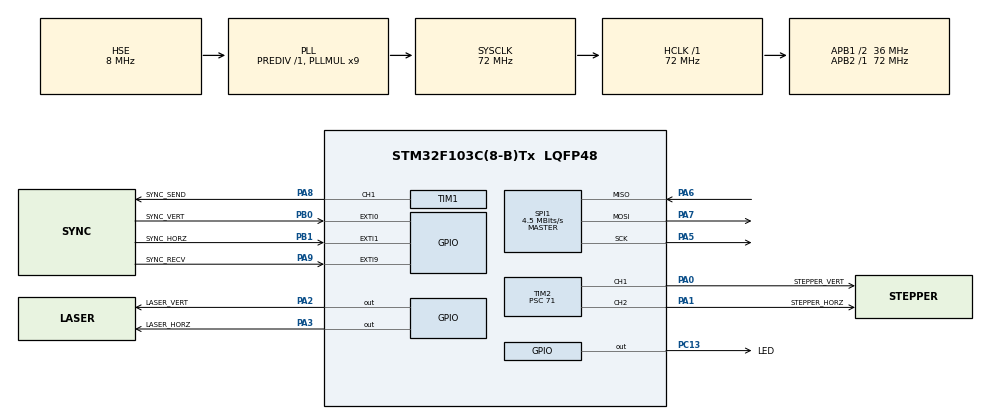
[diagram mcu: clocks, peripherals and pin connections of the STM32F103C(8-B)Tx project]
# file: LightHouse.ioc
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Mcu.Family=STM32F1
Mcu.Name=STM32F103C(8-B)Tx
Mcu.Package=LQFP48
NVIC.EXTI0_IRQn=true\:0\:0\:false\:false\:true
NVIC.EXTI1_IRQn=true\:0\:0\:false\:false\:true
NVIC.EXTI9_5_IRQn=true\:0\:0\:false\:false\:true
NVIC.PriorityGroup=NVIC_PRIORITYGROUP_4
PA0-WKUP.GPIO_Label=STEPPER_VERT
PA0-WKUP.GPIO_Speed=GPIO_SPEED_FREQ_MEDIUM
PA0-WKUP.Signal=S_TIM2_CH1_ETR
PA1.GPIO_Label=STEPPER_HORZ
PA1.GPIO_Speed=GPIO_SPEED_FREQ_MEDIUM
PA1.Signal=S_TIM2_CH2
PA2.GPIO_Label=LASER_VERT
PA2.GPIO_Speed=GPIO_SPEED_FREQ_HIGH
PA2.Signal=GPIO_Output
PA3.GPIO_Label=LASER_HORZ
PA3.GPIO_Speed=GPIO_SPEED_FREQ_HIGH
PA3.Signal=GPIO_Output
PA5.Mode=Full_Duplex_Master
PA5.Signal=SPI1_SCK
PA6.Mode=Full_Duplex_Master
PA6.Signal=SPI1_MISO
PA7.Mode=Full_Duplex_Master
PA7.Signal=SPI1_MOSI
PA8.GPIO_Label=SYNC_SEND
PA8.GPIO_ModeDefaultPP=GPIO_MODE_AF_PP
PA8.GPIO_Speed=GPIO_SPEED_FREQ_HIGH
PA8.Signal=S_TIM1_CH1
PA9.GPIO_Label=SYNC_RECV
PA9.GPIO_ModeDefaultEXTI=GPIO_MODE_IT_RISING_FALLING
PA9.GPIO_PuPd=GPIO_NOPULL
PA9.Signal=GPXTI9
PB0.GPIO_Label=SYNC_VERT
PB0.GPIO_PuPd=GPIO_PULLDOWN
PB0.Signal=GPXTI0
PB1.GPIO_Label=SYNC_HORZ
PB1.GPIO_PuPd=GPIO_PULLDOWN
PB1.Signal=GPXTI1
PC13-TAMPER-RTC.GPIO_Label=LED
PC13-TAMPER-RTC.GPIO_ModeDefaultOutputPP=GPIO_MODE_OUTPUT_OD
PC13-TAMPER-RTC.GPIO_Speed=GPIO_SPEED_FREQ_HIGH
PC13-TAMPER-RTC.PinState=GPIO_PIN_SET
PC13-TAMPER-RTC.Signal=GPIO_Output
PD0-OSC_IN.Mode=HSE-External-Oscillator
PD0-OSC_IN.Signal=RCC_OSC_IN
PD1-OSC_OUT.Mode=HSE-External-Oscillator
PD1-OSC_OUT.Signal=RCC_OSC_OUT
ProjectManager.HeapSize=0x200
ProjectManager.StackSize=0x400
ProjectManager.TargetToolchain=MDK-ARM V5
RCC.ADCPresc=RCC_ADCPCLK2_DIV6
RCC.AHBFreq_Value=72000000
RCC.APB1CLKDivider=RCC_HCLK_DIV2
RCC.APB1Freq_Value=36000000
RCC.APB1TimFreq_Value=72000000
RCC.APB2Freq_Value=72000000
RCC.APB2TimFreq_Value=72000000
RCC.ClockTypeHCLK=RCC_CLOCKTYPE_HCLK
RCC.ClockTypePCLK1=RCC_CLOCKTYPE_PCLK1
RCC.ClockTypePCLK2=RCC_CLOCKTYPE_PCLK2
RCC.EnableHSE=true
RCC.EnableHSERTCDevisor=false
RCC.EnableLSE=false
RCC.EnableLSERTC=false
RCC.EnableMCOMultDivisor=false
RCC.HCLKFreq_Value=72000000
RCC.HSEState=RCC_HSE_ON
RCC.HSIState=RCC_HSI_ON
RCC.IWDGEnable=false
RCC.LSIState=RCC_LSI_OFF
RCC.MCOEnable=false
RCC.OscillatorTypeHSE=RCC_OSCILLATORTYPE_HSE
RCC.PLLMUL=RCC_PLL_MUL9
RCC.PLLSource=RCC_PLLSOURCE_HSE
RCC.PLLSourceVirtual=RCC_PLLSOURCE_HSE
RCC.PLLState=RCC_PLL_ON
RCC.PREFETCH_ENABLE=1
RCC.RTCEnable=false
RCC.SYSCLKFreq_VALUE=72000000
RCC.SYSCLKSource=RCC_SYSCLKSOURCE_PLLCLK
RCC.USBFreq_Value=48000000
RCC.USBPrescaler=RCC_USBCLKSOURCE_PLL_DIV1_5
RCC.VDD_VALUE=3.3
SH.S_TIM1_CH1.0=TIM1_CH1,PWM Generation1 CH1
SH.S_TIM2_CH1_ETR.0=TIM2_CH1,PWM Generation1 CH1
SH.S_TIM2_CH2.0=TIM2_CH2,PWM Generation2 CH2
SPI1.BaudRatePrescaler=SPI_BAUDRATEPRESCALER_16
SPI1.CRCPolynomial=10
SPI1.CalculateBaudRate=4.5 MBits/s
SPI1.Direction=SPI_DIRECTION_2LINES
SPI1.Mode=SPI_MODE_MASTER
SPI1.VirtualType=VM_MASTER
TIM1.Channel-PWM\ Generation1\ CH1=TIM_CHANNEL_1
TIM1.ClockDivision=TIM_CLOCKDIVISION_DIV1
TIM1.OCFastMode_PWM-PWM\ Generation1\ CH1=TIM_OCFAST_DISABLE
TIM1.OCMode_PWM-PWM\ Generation1\ CH1=TIM_OCMODE_PWM1
TIM1.OCNIdleState_1=TIM_OCNIDLESTATE_RESET
TIM1.OCNPolarity_1=TIM_OCNPOLARITY_HIGH
TIM1.Period=75
TIM1.Prescaler=24
TIM1.Pulse-PWM\ Generation1\ CH1=38
TIM1.TIM_MasterOutputTrigger=TIM_TRGO_RESET
TIM2.Channel-PWM\ Generation1\ CH1=TIM_CHANNEL_1
TIM2.Channel-PWM\ Generation2\ CH2=TIM_CHANNEL_2
TIM2.OCFastMode_PWM-PWM\ Generation1\ CH1=TIM_OCFAST_DISABLE
TIM2.OCFastMode_PWM-PWM\ Generation2\ CH2=TIM_OCFAST_DISABLE
TIM2.Period=3190
TIM2.Prescaler=71
TIM2.Pulse-PWM\ Generation1\ CH1=1600
TIM2.Pulse-PWM\ Generation2\ CH2=1600
TIM2.TIM_MasterOutputTrigger=TIM_TRGO_RESET
VP_SYS_VS_ND.Mode=No_Debug
VP_TIM1_VS_ClockSourceINT.Mode=Internal
VP_TIM2_VS_ClockSourceINT.Mode=Internal
board=LightHouse

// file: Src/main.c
/**
  ******************************************************************************
  * File Name          : main.c
  * Description        : Main program body
  ******************************************************************************
  *
  * COPYRIGHT(c) 2017 STMicroelectronics
  *
  * Redistribution and use in source and binary forms, with or without modification,
  * are permitted provided that the following conditions are met:
  *   1. Redistributions of source code must retain the above copyright notice,
  *      this list of conditions and the following disclaimer.
  *   2. Redistributions in binary form must reproduce the above copyright notice,
  *      this list of conditions and the following disclaimer in the documentation
  *      and/or other materials provided with the distribution.
  *   3. Neither the name of STMicroelectronics nor the names of its contributors
  *      may be used to endorse or promote products derived from this software
  *      without specific prior written permission.
  *
  * THIS SOFTWARE IS PROVIDED BY THE COPYRIGHT HOLDERS AND CONTRIBUTORS "AS IS"
  * AND ANY EXPRESS OR IMPLIED WARRANTIES, INCLUDING, BUT NOT LIMITED TO, THE
  * IMPLIED WARRANTIES OF MERCHANTABILITY AND FITNESS FOR A PARTICULAR PURPOSE ARE
  * DISCLAIMED. IN NO EVENT SHALL THE COPYRIGHT HOLDER OR CONTRIBUTORS BE LIABLE
  * FOR ANY DIRECT, INDIRECT, INCIDENTAL, SPECIAL, EXEMPLARY, OR CONSEQUENTIAL
  * DAMAGES (INCLUDING, BUT NOT LIMITED TO, PROCUREMENT OF SUBSTITUTE GOODS OR
  * SERVICES; LOSS OF USE, DATA, OR PROFITS; OR BUSINESS INTERRUPTION) HOWEVER
  * CAUSED AND ON ANY THEORY OF LIABILITY, WHETHER IN CONTRACT, STRICT LIABILITY,
  * OR TORT (INCLUDING NEGLIGENCE OR OTHERWISE) ARISING IN ANY WAY OUT OF THE USE
  * OF THIS SOFTWARE, EVEN IF ADVISED OF THE POSSIBILITY OF SUCH DAMAGE.
  *
  ******************************************************************************
  */
#include "main.h"
#include "stm32f1xx_hal.h"

/* USER CODE BEGIN Includes */
#undef UNUSED
#define UNUSED(x) ;

#include "..\\..\\Common\\led.h"
#include "..\\..\\Common\\eeprom_flash.h"
/* USER CODE END Includes */

SPI_HandleTypeDef hspi1;

TIM_HandleTypeDef htim1;
TIM_HandleTypeDef htim2;

/* USER CODE BEGIN PV */
#ifdef __cplusplus
extern "C" {
#endif
/* USER CODE END PV */

void SystemClock_Config(void);
void Error_Handler(void);
static void MX_GPIO_Init(void);
static void MX_SPI1_Init(void);
static void MX_TIM1_Init(void);
static void MX_TIM2_Init(void);

void HAL_TIM_MspPostInit(TIM_HandleTypeDef *htim);

/* USER CODE BEGIN PFP */
/* Private function prototypes -----------------------------------------------*/
#ifdef __cplusplus
}
#endif

/* USER CODE END PFP */

/* USER CODE BEGIN 0 */

uint64_t HAL_GetMicros()
{
	uint64_t ticks = HAL_GetTick();
	uint64_t systick = (uint64_t)SysTick->VAL;
	return (ticks * 1000ull) + 1000ull - (systick / 72ul);
}

void HAL_MicroDelay(uint64_t delay)
{
	uint64_t tickstart = 0;
	tickstart = HAL_GetMicros();
	while((HAL_GetMicros() - tickstart) < delay)
	{
	}
}

volatile int step = 0;
#define SYNC_MARK (0xD3)
#define VERT (0x21)
#define HORZ (0x41)
#define REVERSE (0x08)
#define PULSE_WIDTH (600)

volatile bool selfSync = false;

uint16_t SyncData = 0;
uint8_t SyncBits = 0;
uint64_t LastSyncBitTime = 0;
uint8_t LastSyncBit = 0;
uint32_t SyncElapsedTime = 0;
uint8_t SyncElapsedPulses = 0;
uint8_t SyncCurrBit = 0;
volatile uint8_t SyncCommand = 0;

uint32_t NextTurn = 0;

uint16_t SyncDebug[16] = {0};
uint8_t SyncDebugIdx = 0;

void HAL_GPIO_EXTI_Callback(uint16_t GPIO_Pin)
{
	if (selfSync) return; //prevent self sync signal process
	if (GPIO_Pin == SYNC_RECV_Pin)
	{
		uint64_t now = HAL_GetMicros();
		//interrupt on up and down edges
		SyncCurrBit = (HAL_GPIO_ReadPin(SYNC_RECV_GPIO_Port, SYNC_RECV_Pin) == GPIO_PIN_RESET)? 1 : 0;
		if (SyncCurrBit)
		{
			SyncElapsedTime = (uint32_t)(now - LastSyncBitTime);
			SyncElapsedPulses = (uint8_t)(((float)SyncElapsedTime / (float)PULSE_WIDTH) + 0.5f) ;
			if (SyncElapsedPulses == 1)
			{
				SyncData = (SyncData << 1);	// 0
				SyncBits++;
			}
			else if (SyncElapsedPulses == 3)
			{
				SyncData = (SyncData << 1) | 1;	// 1
				SyncBits++;
			}
			else
			{
				SyncBits = 0;
				SyncData = 0;
				SyncCommand = 0;
				//LedOff();
			}

			if (SyncBits == 16)
			{
				if (((SyncData >> 8) & SYNC_MARK) == SYNC_MARK)
				{
					SyncCommand = (uint8_t)(SyncData & 0xff);
					SyncDebug[SyncDebugIdx] = SyncData;
					SyncDebugIdx++;
					if (SyncDebugIdx == 16) SyncDebugIdx = 0;
				}
				else
				{
					SyncCommand = 0;
				}
				SyncBits = 0;
				SyncData = 0;
				//LedOn();
			}
		}
		LastSyncBitTime = now;
	}
}

uint32_t delay = 0;
int pwm = 0;

void SendIREndMark()
{
	TIM1->CCR1 = 38; //set %50 duty
	HAL_MicroDelay(PULSE_WIDTH);
	TIM1->CCR1 = 0; //set %0 duty
	HAL_MicroDelay(PULSE_WIDTH);
	selfSync = false;
}

uint32_t SendIRByte(uint8_t data)
{
	uint32_t pulses = 0;
	selfSync = true;
	for (int i=0; i<8; i++)
	{
		if ((data & 0x80) == 0x80)
		{
			TIM1->CCR1 = 38; //set %50 duty
			HAL_MicroDelay(PULSE_WIDTH);
			TIM1->CCR1 = 0; //set %0 duty
			HAL_MicroDelay(PULSE_WIDTH*3);
			pulses += 4;
		}
		else
		{
			TIM1->CCR1 = 38; //set %50 duty
			HAL_MicroDelay(PULSE_WIDTH);
			TIM1->CCR1 = 0; //set %0 duty
			HAL_MicroDelay(PULSE_WIDTH);
			pulses += 2;
		}
		data = data << 1;
	}
	return (32 - pulses) * PULSE_WIDTH;
}

void SetLedDuty(float x)
{

	if (x < 0) x = 0.0f;
	if (x > 100) x = 100.0f;
	TIM3->CCR4 = (uint32_t)(((float)(TIM3->ARR) / 100.0f) * x);

}
#define SERVO_90 (130)
/* USER CODE END 0 */

int main(void)
{

  /* USER CODE BEGIN 1 */
	//Determine the desired PWM resolution (for example: 100 steps, 200 steps, 1000…)
	//Determine the desired PWM frequency (for example: 1kHz, 10kHz, 40kHz, …)
	//Set the Counter Period at the same value as the resolution
	//Set the Prescaler = 48000000/(PWM frequency*PWM resolution) – 1 (thanks to Ruben and Avinash to spot out the mistake)
	//Set the Pulse equal to the desired Pulse width where the value varies from 0 to Counter Period.

  /* USER CODE END 1 */

  /* MCU Configuration----------------------------------------------------------*/

  /* Reset of all peripherals, Initializes the Flash interface and the Systick. */
  HAL_Init();

  /* Configure the system clock */
  SystemClock_Config();

  /* Initialize all configured peripherals */
  MX_GPIO_Init();
  MX_SPI1_Init();
  MX_TIM1_Init();
  MX_TIM2_Init();

  /* USER CODE BEGIN 2 */
	HAL_TIM_PWM_Start(&htim1, TIM_CHANNEL_1);
	HAL_TIM_PWM_Start(&htim2, TIM_CHANNEL_1);
	HAL_TIM_PWM_Start(&htim2, TIM_CHANNEL_2);

  /* USER CODE END 2 */

  /* Infinite loop */
  /* USER CODE BEGIN WHILE */

	uint32_t extraDelay;
	uint8_t direction = 0;
	uint32_t angle = 2000;

	uint8_t lightHouseId = 0; // (GPIO_PIN_SET == HAL_GPIO_ReadPin(LH_ID_GPIO_Port, LH_ID_Pin) ? 0x10 : 0x00);
	//uint32_t lastCommandTime = HAL_GetTick();

	if (!lightHouseId) SyncCommand = HORZ;
	TIM1->CCR1 = 38; //set %0 duty

	uint32_t v = 5000; //50000 = 1hz
	TIM2->ARR = v - 1;
	TIM2->CCR1 = v / 2; //set %0 duty
	TIM2->CCR2 = v / 2; //set %0 duty

	while (true)
	{
		continue;
		uint32_t now = HAL_GetTick();
		if (now > NextTurn) SyncCommand = HORZ;
		if (SyncCommand == 0) continue;
		if ((SyncCommand & HORZ) == HORZ)
		{
			//lastCommandTime = now;
			if (angle == 20)
				angle = 10;
			else
				angle = 20;
			direction = (angle == 10)? 0: REVERSE;

			angle = 50;

			HAL_Delay(SERVO_90); // wait until remote finish
			LedOn();

			extraDelay = SendIRByte(SYNC_MARK); //send sync magic
			extraDelay += SendIRByte(VERT | lightHouseId | direction);	//send sync info
			HAL_GPIO_WritePin(LASER_VERT_GPIO_Port, LASER_VERT_Pin, GPIO_PIN_SET); //turn on vert laser
			SendIREndMark();
			//21 ms total  = 34 * 600 = 21400microsec
			if (extraDelay) HAL_MicroDelay(extraDelay);
			TIM2->CCR1 = angle; //move vert to 0
			HAL_Delay(SERVO_90); // wait until finish
			HAL_GPIO_WritePin(LASER_VERT_GPIO_Port, LASER_VERT_Pin, GPIO_PIN_RESET); //turn off vert laser

			extraDelay = SendIRByte(SYNC_MARK); //send sync magic
			extraDelay += SendIRByte(HORZ | lightHouseId | direction);	//send sync info
			HAL_GPIO_WritePin(LASER_HORZ_GPIO_Port, LASER_HORZ_Pin, GPIO_PIN_SET); //turn on horz laser
			SendIREndMark();
			if (extraDelay) HAL_MicroDelay(extraDelay);
			TIM2->CCR2 = angle;
			HAL_Delay(SERVO_90); //wait fin
			HAL_GPIO_WritePin(LASER_HORZ_GPIO_Port, LASER_HORZ_Pin, GPIO_PIN_RESET); //turn off horz laser

			LedOff();
			NextTurn = HAL_GetTick(); // +((SERVO_90 + 21) * 2) + 10;
		}
		SyncCommand = 0;

	}
  /* USER CODE END WHILE */

}

/** System Clock Configuration
*/
void SystemClock_Config(void)
{

  RCC_OscInitTypeDef RCC_OscInitStruct;
  RCC_ClkInitTypeDef RCC_ClkInitStruct;

    /**Initializes the CPU, AHB and APB busses clocks
    */
  RCC_OscInitStruct.OscillatorType = RCC_OSCILLATORTYPE_HSE;
  RCC_OscInitStruct.HSEState = RCC_HSE_ON;
  RCC_OscInitStruct.HSEPredivValue = RCC_HSE_PREDIV_DIV1;
  RCC_OscInitStruct.PLL.PLLState = RCC_PLL_ON;
  RCC_OscInitStruct.PLL.PLLSource = RCC_PLLSOURCE_HSE;
  RCC_OscInitStruct.PLL.PLLMUL = RCC_PLL_MUL9;
  if (HAL_RCC_OscConfig(&RCC_OscInitStruct) != HAL_OK)
  {
    Error_Handler();
  }

    /**Initializes the CPU, AHB and APB busses clocks
    */
  RCC_ClkInitStruct.ClockType = RCC_CLOCKTYPE_HCLK|RCC_CLOCKTYPE_SYSCLK
                              |RCC_CLOCKTYPE_PCLK1|RCC_CLOCKTYPE_PCLK2;
  RCC_ClkInitStruct.SYSCLKSource = RCC_SYSCLKSOURCE_PLLCLK;
  RCC_ClkInitStruct.AHBCLKDivider = RCC_SYSCLK_DIV1;
  RCC_ClkInitStruct.APB1CLKDivider = RCC_HCLK_DIV2;
  RCC_ClkInitStruct.APB2CLKDivider = RCC_HCLK_DIV1;

  if (HAL_RCC_ClockConfig(&RCC_ClkInitStruct, FLASH_LATENCY_2) != HAL_OK)
  {
    Error_Handler();
  }

    /**Configure the Systick interrupt time
    */
  HAL_SYSTICK_Config(HAL_RCC_GetHCLKFreq()/1000);

    /**Configure the Systick
    */
  HAL_SYSTICK_CLKSourceConfig(SYSTICK_CLKSOURCE_HCLK);

  /* SysTick_IRQn interrupt configuration */
  HAL_NVIC_SetPriority(SysTick_IRQn, 0, 0);
}

/* SPI1 init function */
static void MX_SPI1_Init(void)
{

  hspi1.Instance = SPI1;
  hspi1.Init.Mode = SPI_MODE_MASTER;
  hspi1.Init.Direction = SPI_DIRECTION_2LINES;
  hspi1.Init.DataSize = SPI_DATASIZE_8BIT;
  hspi1.Init.CLKPolarity = SPI_POLARITY_LOW;
  hspi1.Init.CLKPhase = SPI_PHASE_1EDGE;
  hspi1.Init.NSS = SPI_NSS_SOFT;
  hspi1.Init.BaudRatePrescaler = SPI_BAUDRATEPRESCALER_16;
  hspi1.Init.FirstBit = SPI_FIRSTBIT_MSB;
  hspi1.Init.TIMode = SPI_TIMODE_DISABLE;
  hspi1.Init.CRCCalculation = SPI_CRCCALCULATION_DISABLE;
  hspi1.Init.CRCPolynomial = 10;
  if (HAL_SPI_Init(&hspi1) != HAL_OK)
  {
    Error_Handler();
  }

}

/* TIM1 init function */
static void MX_TIM1_Init(void)
{

  TIM_ClockConfigTypeDef sClockSourceConfig;
  TIM_MasterConfigTypeDef sMasterConfig;
  TIM_OC_InitTypeDef sConfigOC;
  TIM_BreakDeadTimeConfigTypeDef sBreakDeadTimeConfig;

  htim1.Instance = TIM1;
  htim1.Init.Prescaler = 24;
  htim1.Init.CounterMode = TIM_COUNTERMODE_UP;
  htim1.Init.Period = 75;
  htim1.Init.ClockDivision = TIM_CLOCKDIVISION_DIV1;
  htim1.Init.RepetitionCounter = 0;
  if (HAL_TIM_Base_Init(&htim1) != HAL_OK)
  {
    Error_Handler();
  }

  sClockSourceConfig.ClockSource = TIM_CLOCKSOURCE_INTERNAL;
  if (HAL_TIM_ConfigClockSource(&htim1, &sClockSourceConfig) != HAL_OK)
  {
    Error_Handler();
  }

  if (HAL_TIM_PWM_Init(&htim1) != HAL_OK)
  {
    Error_Handler();
  }

  sMasterConfig.MasterOutputTrigger = TIM_TRGO_RESET;
  sMasterConfig.MasterSlaveMode = TIM_MASTERSLAVEMODE_DISABLE;
  if (HAL_TIMEx_MasterConfigSynchronization(&htim1, &sMasterConfig) != HAL_OK)
  {
    Error_Handler();
  }

  sConfigOC.OCMode = TIM_OCMODE_PWM1;
  sConfigOC.Pulse = 38;
  sConfigOC.OCPolarity = TIM_OCPOLARITY_HIGH;
  sConfigOC.OCNPolarity = TIM_OCNPOLARITY_HIGH;
  sConfigOC.OCFastMode = TIM_OCFAST_DISABLE;
  sConfigOC.OCIdleState = TIM_OCIDLESTATE_RESET;
  sConfigOC.OCNIdleState = TIM_OCNIDLESTATE_RESET;
  if (HAL_TIM_PWM_ConfigChannel(&htim1, &sConfigOC, TIM_CHANNEL_1) != HAL_OK)
  {
    Error_Handler();
  }

  sBreakDeadTimeConfig.OffStateRunMode = TIM_OSSR_DISABLE;
  sBreakDeadTimeConfig.OffStateIDLEMode = TIM_OSSI_DISABLE;
  sBreakDeadTimeConfig.LockLevel = TIM_LOCKLEVEL_OFF;
  sBreakDeadTimeConfig.DeadTime = 0;
  sBreakDeadTimeConfig.BreakState = TIM_BREAK_DISABLE;
  sBreakDeadTimeConfig.BreakPolarity = TIM_BREAKPOLARITY_HIGH;
  sBreakDeadTimeConfig.AutomaticOutput = TIM_AUTOMATICOUTPUT_DISABLE;
  if (HAL_TIMEx_ConfigBreakDeadTime(&htim1, &sBreakDeadTimeConfig) != HAL_OK)
  {
    Error_Handler();
  }

  HAL_TIM_MspPostInit(&htim1);

}

/* TIM2 init function */
static void MX_TIM2_Init(void)
{

  TIM_ClockConfigTypeDef sClockSourceConfig;
  TIM_MasterConfigTypeDef sMasterConfig;
  TIM_OC_InitTypeDef sConfigOC;

  htim2.Instance = TIM2;
  htim2.Init.Prescaler = 71;
  htim2.Init.CounterMode = TIM_COUNTERMODE_UP;
  htim2.Init.Period = 3190;
  htim2.Init.ClockDivision = TIM_CLOCKDIVISION_DIV1;
  if (HAL_TIM_Base_Init(&htim2) != HAL_OK)
  {
    Error_Handler();
  }

  sClockSourceConfig.ClockSource = TIM_CLOCKSOURCE_INTERNAL;
  if (HAL_TIM_ConfigClockSource(&htim2, &sClockSourceConfig) != HAL_OK)
  {
    Error_Handler();
  }

  if (HAL_TIM_PWM_Init(&htim2) != HAL_OK)
  {
    Error_Handler();
  }

  sMasterConfig.MasterOutputTrigger = TIM_TRGO_RESET;
  sMasterConfig.MasterSlaveMode = TIM_MASTERSLAVEMODE_DISABLE;
  if (HAL_TIMEx_MasterConfigSynchronization(&htim2, &sMasterConfig) != HAL_OK)
  {
    Error_Handler();
  }

  sConfigOC.OCMode = TIM_OCMODE_PWM1;
  sConfigOC.Pulse = 1600;
  sConfigOC.OCPolarity = TIM_OCPOLARITY_HIGH;
  sConfigOC.OCFastMode = TIM_OCFAST_DISABLE;
  if (HAL_TIM_PWM_ConfigChannel(&htim2, &sConfigOC, TIM_CHANNEL_1) != HAL_OK)
  {
    Error_Handler();
  }

  if (HAL_TIM_PWM_ConfigChannel(&htim2, &sConfigOC, TIM_CHANNEL_2) != HAL_OK)
  {
    Error_Handler();
  }

  HAL_TIM_MspPostInit(&htim2);

}

/** Configure pins as
        * Analog
        * Input
        * Output
        * EVENT_OUT
        * EXTI
        * Free pins are configured automatically as Analog (this feature is enabled through
        * the Code Generation settings)
*/
static void MX_GPIO_Init(void)
{

  GPIO_InitTypeDef GPIO_InitStruct;

  /* GPIO Ports Clock Enable */
  __HAL_RCC_GPIOC_CLK_ENABLE();
  __HAL_RCC_GPIOD_CLK_ENABLE();
  __HAL_RCC_GPIOA_CLK_ENABLE();
  __HAL_RCC_GPIOB_CLK_ENABLE();

  /*Configure GPIO pin Output Level */
  HAL_GPIO_WritePin(LED_GPIO_Port, LED_Pin, GPIO_PIN_SET);

  /*Configure GPIO pin Output Level */
  HAL_GPIO_WritePin(GPIOA, LASER_VERT_Pin|LASER_HORZ_Pin, GPIO_PIN_RESET);

  /*Configure GPIO pin : LED_Pin */
  GPIO_InitStruct.Pin = LED_Pin;
  GPIO_InitStruct.Mode = GPIO_MODE_OUTPUT_OD;
  GPIO_InitStruct.Speed = GPIO_SPEED_FREQ_HIGH;
  HAL_GPIO_Init(LED_GPIO_Port, &GPIO_InitStruct);

  /*Configure GPIO pins : PC14 PC15 */
  GPIO_InitStruct.Pin = GPIO_PIN_14|GPIO_PIN_15;
  GPIO_InitStruct.Mode = GPIO_MODE_ANALOG;
  HAL_GPIO_Init(GPIOC, &GPIO_InitStruct);

  /*Configure GPIO pins : LASER_VERT_Pin LASER_HORZ_Pin */
  GPIO_InitStruct.Pin = LASER_VERT_Pin|LASER_HORZ_Pin;
  GPIO_InitStruct.Mode = GPIO_MODE_OUTPUT_PP;
  GPIO_InitStruct.Speed = GPIO_SPEED_FREQ_HIGH;
  HAL_GPIO_Init(GPIOA, &GPIO_InitStruct);

  /*Configure GPIO pins : PA4 PA10 PA11 PA12
                           PA13 PA14 PA15 */
  GPIO_InitStruct.Pin = GPIO_PIN_4|GPIO_PIN_10|GPIO_PIN_11|GPIO_PIN_12
                          |GPIO_PIN_13|GPIO_PIN_14|GPIO_PIN_15;
  GPIO_InitStruct.Mode = GPIO_MODE_ANALOG;
  HAL_GPIO_Init(GPIOA, &GPIO_InitStruct);

  /*Configure GPIO pins : SYNC_VERT_Pin SYNC_HORZ_Pin */
  GPIO_InitStruct.Pin = SYNC_VERT_Pin|SYNC_HORZ_Pin;
  GPIO_InitStruct.Mode = GPIO_MODE_IT_RISING;
  GPIO_InitStruct.Pull = GPIO_PULLDOWN;
  HAL_GPIO_Init(GPIOB, &GPIO_InitStruct);

  /*Configure GPIO pins : PB2 PB10 PB11 PB12
                           PB13 PB14 PB15 PB3
                           PB4 PB5 PB6 PB7
                           PB8 PB9 */
  GPIO_InitStruct.Pin = GPIO_PIN_2|GPIO_PIN_10|GPIO_PIN_11|GPIO_PIN_12
                          |GPIO_PIN_13|GPIO_PIN_14|GPIO_PIN_15|GPIO_PIN_3
                          |GPIO_PIN_4|GPIO_PIN_5|GPIO_PIN_6|GPIO_PIN_7
                          |GPIO_PIN_8|GPIO_PIN_9;
  GPIO_InitStruct.Mode = GPIO_MODE_ANALOG;
  HAL_GPIO_Init(GPIOB, &GPIO_InitStruct);

  /*Configure GPIO pin : SYNC_RECV_Pin */
  GPIO_InitStruct.Pin = SYNC_RECV_Pin;
  GPIO_InitStruct.Mode = GPIO_MODE_IT_RISING_FALLING;
  GPIO_InitStruct.Pull = GPIO_NOPULL;
  HAL_GPIO_Init(SYNC_RECV_GPIO_Port, &GPIO_InitStruct);

  /* EXTI interrupt init*/
  HAL_NVIC_SetPriority(EXTI0_IRQn, 0, 0);
  HAL_NVIC_EnableIRQ(EXTI0_IRQn);

  HAL_NVIC_SetPriority(EXTI1_IRQn, 0, 0);
  HAL_NVIC_EnableIRQ(EXTI1_IRQn);

  HAL_NVIC_SetPriority(EXTI9_5_IRQn, 0, 0);
  HAL_NVIC_EnableIRQ(EXTI9_5_IRQn);

}

void Error_Handler(void)
{
  /* USER CODE BEGIN Error_Handler */
  /* User can add his own implementation to report the HAL error return state */
	  NVIC_SystemReset();
  /* USER CODE END Error_Handler */
}

/************************ (C) COPYRIGHT STMicroelectronics *****END OF FILE****/
